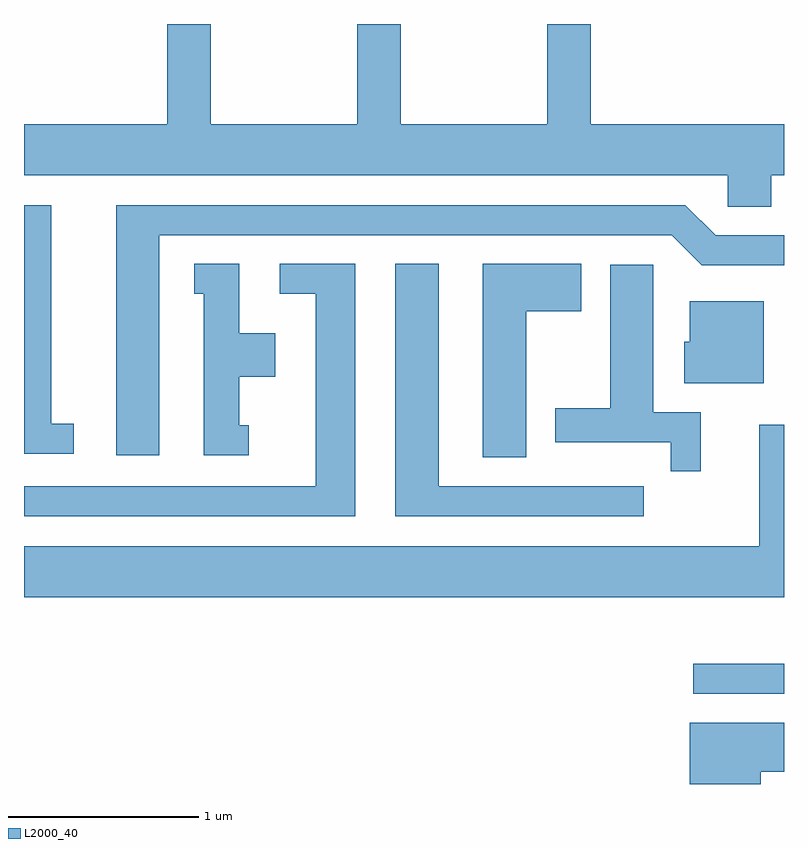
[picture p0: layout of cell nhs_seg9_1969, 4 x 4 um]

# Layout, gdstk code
import gdstk
lib = gdstk.Library(unit=1e-6, precision=1e-09)
def R(c, l, rs):  # rectangles x0, y0, x1, y1
    for r in rs: c.add(gdstk.rectangle(r[:2], r[2:], *l))
def P(c, l, *ps):  # polygons
    for p in ps: c.add(gdstk.Polygon(p, *l))
L2000_40 = (2000, 40)

nhs_seg9_1969 = lib.new_cell('nhs_seg9_1969')
R(nhs_seg9_1969, L2000_40, [(247.133,1946.906,247.611,1947.064)])
P(nhs_seg9_1969, L2000_40, [(247.544,1949.636),(247.611,1949.636),(247.611,1949.904),(246.594,1949.904),(246.594,1950.432),(246.366,1950.432),(246.366,1949.904),(245.594,1949.904),(245.594,1950.432),(245.366,1950.432),(245.366,1949.904),(244.594,1949.904),(244.594,1950.432),(244.366,1950.432),(244.366,1949.904),(243.611,1949.904),(243.611,1949.636),(247.316,1949.636),(247.316,1949.471),(247.544,1949.471)],
  [(244.324,1949.321),(247.019,1949.321),(247.179,1949.161),(247.611,1949.161),(247.611,1949.319),(247.252,1949.319),(247.092,1949.479),(244.096,1949.479),(244.096,1948.161),(244.324,1948.161)],
  [(243.873,1948.329),(243.754,1948.329),(243.754,1949.479),(243.611,1949.479),(243.611,1948.171),(243.873,1948.171)],
  [(246.254,1948.921),(246.544,1948.921),(246.544,1949.169),(246.026,1949.169),(246.026,1948.151),(246.254,1948.151)],
  [(244.793,1948.319),(244.744,1948.319),(244.744,1948.576),(244.934,1948.576),(244.934,1948.804),(244.744,1948.804),(244.744,1949.169),(244.508,1949.169),(244.508,1949.011),(244.556,1949.011),(244.556,1948.161),(244.793,1948.161)],
  [(245.354,1949.169),(244.958,1949.169),(244.958,1949.011),(245.146,1949.011),(245.146,1947.999),(243.611,1947.999),(243.611,1947.841),(245.354,1947.841)],
  [(246.873,1947.999),(245.794,1947.999),(245.794,1949.169),(245.566,1949.169),(245.566,1947.841),(246.873,1947.841)],
  [(247.174,1948.389),(246.924,1948.389),(246.924,1949.164),(246.696,1949.164),(246.696,1948.409),(246.406,1948.409),(246.406,1948.231),(247.016,1948.231),(247.016,1948.078),(247.174,1948.078)],
  [(247.504,1948.974),(247.116,1948.974),(247.116,1948.759),(247.086,1948.759),(247.086,1948.541),(247.504,1948.541)],
  [(247.611,1948.323),(247.481,1948.323),(247.481,1947.684),(243.611,1947.684),(243.611,1947.416),(247.611,1947.416)],
  [(247.489,1946.496),(247.611,1946.496),(247.611,1946.754),(247.116,1946.754),(247.116,1946.432),(247.489,1946.432)])

lib.write_gds('nhs_seg9_1969.gds')
